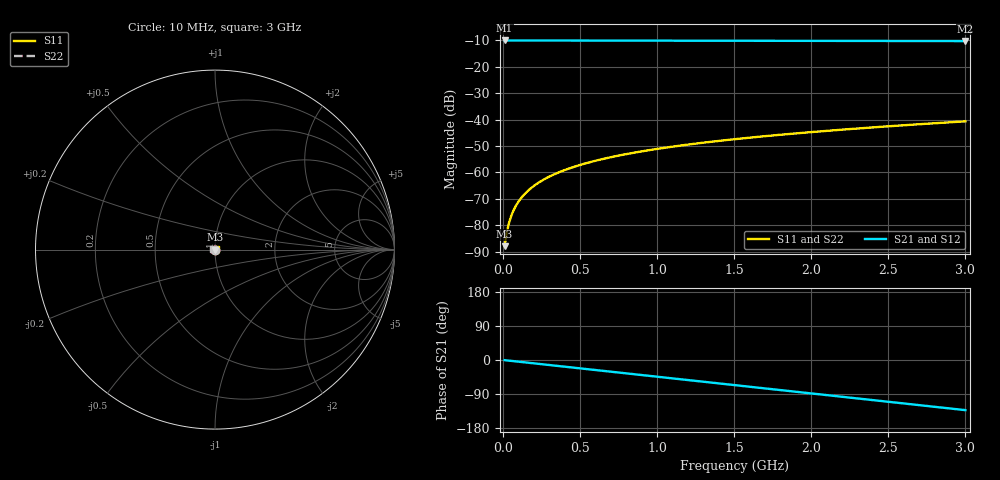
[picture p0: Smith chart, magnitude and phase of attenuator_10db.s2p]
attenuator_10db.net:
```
# Qucs-S Headless RF Netlist for 10 dB RF Pi-Attenuator (50Ω, DC-3GHz)
Pac:P1 _net_in 0 Num="1" Z="50.0 Ohm" P="0 dBm" f="1.5 GHz"
Pac:P2 _net_out 0 Num="2" Z="50.0 Ohm" P="0 dBm" f="1.5 GHz"
2Port:X1 _net_in _net_out 0 File="projects/attenuator_10db/simulation/attenuator_10db.s2p" Type="linear"
.SP:SP1 Type="lin" Start="0.01 GHz" Stop="3.0 GHz" Points="201" Noise="no"
```
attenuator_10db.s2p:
! Touchstone 2-Port S-Parameter Data
! Circuit: 10 dB RF Pi-Attenuator (50Ω, DC-3GHz)
! Substrate: FR4 (er=4.4, h=1.6mm)
! Transmission Line: CPWG (w=1.87mm, s=0.40mm, eps_eff=2.88)
! Simulation Mode: traces
# GHz S MA R 50.0
! Freq(GHz)  S11_mag S11_ang  S21_mag S21_ang  S12_mag S12_ang  S22_mag S22_ang
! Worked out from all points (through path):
!   201 points, 10 MHz to 3 GHz, reference 50 ohm
!   highest |S21| = -10.01 dB at 10 MHz (marker M1); lowest = -10.2 dB at 3 GHz (marker M2)
!   group delay of S21, straight-line fit = 123 ps
!   lowest |S11| = -88.0 dB at 10 MHz (marker M3), VSWR 1.00, Z = 50 - j0.00275 ohm
!   |S11| at or under -10 dB: start of sweep to end of sweep
!   |S22| runs from -88.0 to -40.5 dB; largest |S21 - S12| = 0
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0.01  4e-05 -136.7  0.316 -0.4  0.316 -0.4  4e-05 -136.2
0.0249  7.5e-05 -114.4  0.316 -1.1  0.316 -1.1  7.5e-05 -113.3
0.0399  0.000114 -107.5  0.3159 -1.8  0.3159 -1.8  0.000114 -105.8
0.0848  0.000237 -103.4  0.3158 -3.7  0.3158 -3.7  0.000237 -99.8
0.1595  0.000443 -105.8  0.3157 -7.0  0.3157 -7.0  0.000443 -99.0
0.2642  0.000732 -112.3  0.3154 -11.7  0.3154 -11.7  0.000733 -101.0
0.3987  0.001104 -121.8  0.3151 -17.6  0.3151 -17.6  0.001107 -104.8
0.8173  0.002271 -152.9  0.314 -36.0  0.314 -36.0  0.002285 -118.0
1.505  0.004265 154.7  0.3122 -66.4  0.3122 -66.4  0.004313 -140.9
2.2376  0.006578 98.1  0.3101 -98.7  0.3101 -98.7  0.006689 -166.2
3  0.009279 38.3  0.3077 -132.3  0.3077 -132.3  0.00949 166.7
